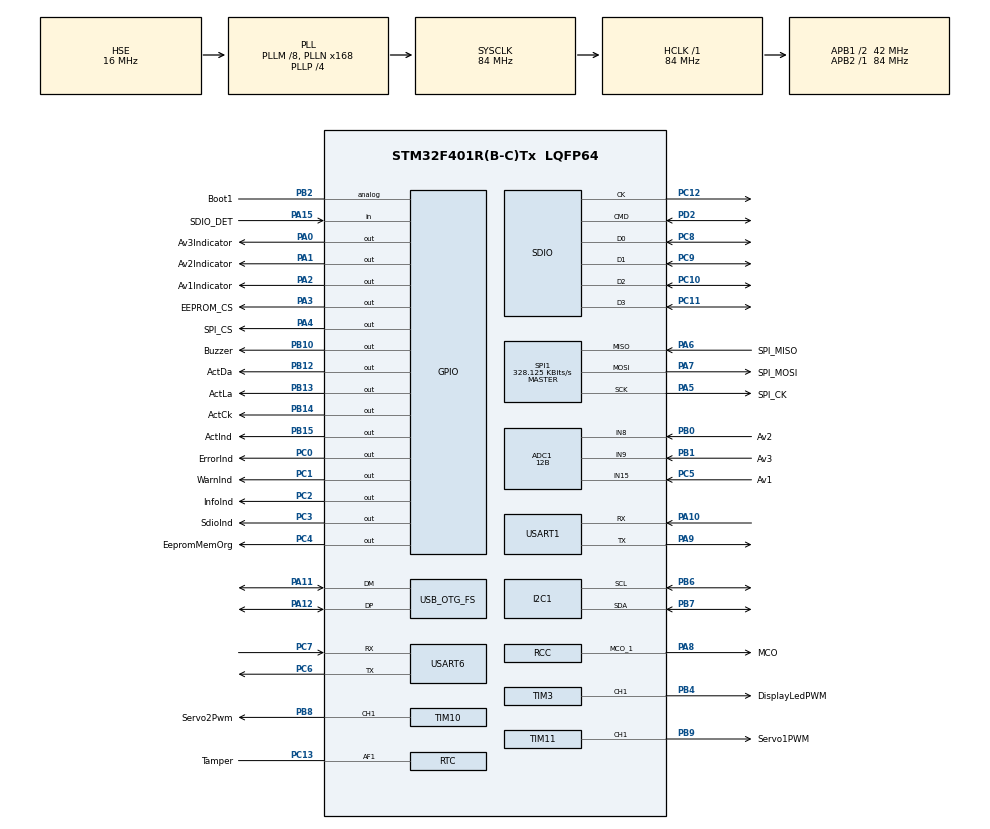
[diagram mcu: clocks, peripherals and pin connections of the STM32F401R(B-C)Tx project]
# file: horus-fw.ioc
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ADC1.Channel-0\#ChannelRegularConversion=ADC_CHANNEL_VREFINT
ADC1.Channel-1\#ChannelRegularConversion=ADC_CHANNEL_TEMPSENSOR
ADC1.Channel-2\#ChannelRegularConversion=ADC_CHANNEL_15
ADC1.Channel-3\#ChannelRegularConversion=ADC_CHANNEL_8
ADC1.Channel-5\#ChannelRegularConversion=ADC_CHANNEL_9
ADC1.ClockPrescaler=ADC_CLOCK_SYNC_PCLK_DIV8
ADC1.ContinuousConvMode=ENABLE
ADC1.DMAContinuousRequests=ENABLE
ADC1.NbrOfConversion=5
ADC1.NbrOfConversionFlag=1
ADC1.Rank-0\#ChannelRegularConversion=1
ADC1.Rank-1\#ChannelRegularConversion=2
ADC1.Rank-2\#ChannelRegularConversion=3
ADC1.Rank-3\#ChannelRegularConversion=4
ADC1.Rank-5\#ChannelRegularConversion=5
ADC1.Resolution=ADC_RESOLUTION_12B
ADC1.SamplingTime-0\#ChannelRegularConversion=ADC_SAMPLETIME_56CYCLES
ADC1.SamplingTime-1\#ChannelRegularConversion=ADC_SAMPLETIME_144CYCLES
ADC1.SamplingTime-2\#ChannelRegularConversion=ADC_SAMPLETIME_56CYCLES
ADC1.SamplingTime-3\#ChannelRegularConversion=ADC_SAMPLETIME_56CYCLES
ADC1.SamplingTime-5\#ChannelRegularConversion=ADC_SAMPLETIME_56CYCLES
ADC1.master=1
Dma.ADC1.0.Direction=DMA_PERIPH_TO_MEMORY
Dma.ADC1.0.FIFOMode=DMA_FIFOMODE_DISABLE
Dma.ADC1.0.Instance=DMA2_Stream4
Dma.ADC1.0.MemDataAlignment=DMA_MDATAALIGN_WORD
Dma.ADC1.0.MemInc=DMA_MINC_ENABLE
Dma.ADC1.0.Mode=DMA_CIRCULAR
Dma.ADC1.0.PeriphDataAlignment=DMA_PDATAALIGN_WORD
Dma.ADC1.0.PeriphInc=DMA_PINC_DISABLE
Dma.ADC1.0.Priority=DMA_PRIORITY_LOW
Dma.Request0=ADC1
Dma.Request1=SDIO
Dma.Request2=USART1_RX
Dma.Request3=USART1_TX
Dma.Request4=USART6_RX
Dma.Request5=USART6_TX
Dma.SDIO.1.Direction=DMA_PERIPH_TO_MEMORY
Dma.SDIO.1.FIFOMode=DMA_FIFOMODE_ENABLE
Dma.SDIO.1.FIFOThreshold=DMA_FIFO_THRESHOLD_FULL
Dma.SDIO.1.Instance=DMA2_Stream3
Dma.SDIO.1.MemBurst=DMA_MBURST_INC4
Dma.SDIO.1.MemDataAlignment=DMA_MDATAALIGN_WORD
Dma.SDIO.1.MemInc=DMA_MINC_ENABLE
Dma.SDIO.1.Mode=DMA_PFCTRL
Dma.SDIO.1.PeriphBurst=DMA_PBURST_INC4
Dma.SDIO.1.PeriphDataAlignment=DMA_PDATAALIGN_WORD
Dma.SDIO.1.PeriphInc=DMA_PINC_DISABLE
Dma.SDIO.1.Priority=DMA_PRIORITY_LOW
Dma.USART1_RX.2.Direction=DMA_PERIPH_TO_MEMORY
Dma.USART1_RX.2.FIFOMode=DMA_FIFOMODE_DISABLE
Dma.USART1_RX.2.Instance=DMA2_Stream2
Dma.USART1_RX.2.MemDataAlignment=DMA_MDATAALIGN_BYTE
Dma.USART1_RX.2.MemInc=DMA_MINC_ENABLE
Dma.USART1_RX.2.Mode=DMA_NORMAL
Dma.USART1_RX.2.PeriphDataAlignment=DMA_PDATAALIGN_BYTE
Dma.USART1_RX.2.PeriphInc=DMA_PINC_DISABLE
Dma.USART1_RX.2.Priority=DMA_PRIORITY_LOW
Dma.USART1_TX.3.Direction=DMA_MEMORY_TO_PERIPH
Dma.USART1_TX.3.FIFOMode=DMA_FIFOMODE_DISABLE
Dma.USART1_TX.3.Instance=DMA2_Stream7
Dma.USART1_TX.3.MemDataAlignment=DMA_MDATAALIGN_BYTE
Dma.USART1_TX.3.MemInc=DMA_MINC_ENABLE
Dma.USART1_TX.3.Mode=DMA_CIRCULAR
Dma.USART1_TX.3.PeriphDataAlignment=DMA_PDATAALIGN_BYTE
Dma.USART1_TX.3.PeriphInc=DMA_PINC_DISABLE
Dma.USART1_TX.3.Priority=DMA_PRIORITY_LOW
Dma.USART6_RX.4.Direction=DMA_PERIPH_TO_MEMORY
Dma.USART6_RX.4.FIFOMode=DMA_FIFOMODE_DISABLE
Dma.USART6_RX.4.Instance=DMA2_Stream1
Dma.USART6_RX.4.MemDataAlignment=DMA_MDATAALIGN_BYTE
Dma.USART6_RX.4.MemInc=DMA_MINC_ENABLE
Dma.USART6_RX.4.Mode=DMA_NORMAL
Dma.USART6_RX.4.PeriphDataAlignment=DMA_PDATAALIGN_BYTE
Dma.USART6_RX.4.PeriphInc=DMA_PINC_DISABLE
Dma.USART6_RX.4.Priority=DMA_PRIORITY_LOW
Dma.USART6_TX.5.Direction=DMA_MEMORY_TO_PERIPH
Dma.USART6_TX.5.FIFOMode=DMA_FIFOMODE_DISABLE
Dma.USART6_TX.5.Instance=DMA2_Stream6
Dma.USART6_TX.5.MemDataAlignment=DMA_MDATAALIGN_BYTE
Dma.USART6_TX.5.MemInc=DMA_MINC_ENABLE
Dma.USART6_TX.5.Mode=DMA_CIRCULAR
Dma.USART6_TX.5.PeriphDataAlignment=DMA_PDATAALIGN_BYTE
Dma.USART6_TX.5.PeriphInc=DMA_PINC_DISABLE
Dma.USART6_TX.5.Priority=DMA_PRIORITY_LOW
FATFS.BSP.number=1
FATFS.USE_DMA_CODE_SD=1
FATFS._FS_EXFAT=1
FATFS._MAX_SS=4096
FATFS._USE_EXPAND=1
FATFS._USE_FIND=1
FATFS._USE_LABEL=1
FATFS._USE_LFN=1
FATFS0.BSP.STBoard=false
FATFS0.BSP.api=Unknown
FATFS0.BSP.instance=PA15
FATFS0.BSP.ip=GPIO
FATFS0.BSP.mode=Input
FATFS0.BSP.name=Detect_SDIO
FATFS0.BSP.solution=PA15
Mcu.Family=STM32F4
Mcu.Name=STM32F401R(B-C)Tx
Mcu.Package=LQFP64
NVIC.DMA2_Stream1_IRQn=true\:0\:0\:false\:false\:true\:false\:true\:true
NVIC.DMA2_Stream2_IRQn=true\:0\:0\:false\:false\:true\:false\:true\:true
NVIC.DMA2_Stream3_IRQn=true\:0\:0\:false\:false\:true\:false\:true\:true
NVIC.DMA2_Stream4_IRQn=true\:0\:0\:false\:false\:true\:false\:true\:true
NVIC.DMA2_Stream6_IRQn=true\:0\:0\:false\:false\:true\:false\:true\:true
NVIC.DMA2_Stream7_IRQn=true\:0\:0\:false\:false\:true\:false\:true\:true
NVIC.FPU_IRQn=true\:0\:0\:false\:false\:true\:true\:false\:true
NVIC.OTG_FS_IRQn=true\:0\:0\:false\:false\:true\:false\:true\:true
NVIC.PriorityGroup=NVIC_PRIORITYGROUP_4
NVIC.RCC_IRQn=true\:0\:0\:false\:false\:true\:true\:false\:true
NVIC.RTC_Alarm_IRQn=true\:0\:0\:false\:false\:true\:true\:true\:true
NVIC.SDIO_IRQn=true\:0\:0\:false\:false\:true\:true\:true\:true
NVIC.SPI1_IRQn=true\:0\:0\:false\:false\:true\:true\:true\:true
NVIC.TAMP_STAMP_IRQn=true\:0\:0\:false\:false\:true\:true\:true\:true
NVIC.TIM1_BRK_TIM9_IRQn=true\:0\:0\:false\:false\:true\:true\:true\:true
NVIC.TIM4_IRQn=true\:0\:0\:false\:false\:true\:true\:true\:true
NVIC.TIM5_IRQn=true\:0\:0\:false\:false\:true\:true\:true\:true
NVIC.USART1_IRQn=true\:0\:0\:false\:false\:true\:true\:true\:true
NVIC.USART6_IRQn=true\:0\:0\:false\:false\:true\:true\:true\:true
PA0-WKUP.GPIO_Label=Av3Indicator
PA0-WKUP.Signal=GPIO_Output
PA1.GPIO_Label=Av2Indicator
PA1.Signal=GPIO_Output
PA10.Mode=Asynchronous
PA10.Signal=USART1_RX
PA11.Mode=Device_Only
PA11.Signal=USB_OTG_FS_DM
PA12.Mode=Device_Only
PA12.Signal=USB_OTG_FS_DP
PA13.GPIO_Label=SWDio
PA13.Mode=Trace_Asynchronous_SW
PA13.Signal=SYS_JTMS-SWDIO
PA14.GPIO_Label=SWCk
PA14.Mode=Trace_Asynchronous_SW
PA14.Signal=SYS_JTCK-SWCLK
PA15.GPIO_Label=SDIO_DET
PA15.Signal=GPIO_Input
PA2.GPIO_Label=Av1Indicator
PA2.Signal=GPIO_Output
PA3.GPIO_Label=EEPROM_CS
PA3.Signal=GPIO_Output
PA4.GPIO_Label=SPI_CS
PA4.Signal=GPIO_Output
PA5.GPIO_Label=SPI_CK
PA5.Mode=Full_Duplex_Master
PA5.Signal=SPI1_SCK
PA6.GPIO_Label=SPI_MISO
PA6.Mode=Full_Duplex_Master
PA6.Signal=SPI1_MISO
PA7.GPIO_Label=SPI_MOSI
PA7.Mode=Full_Duplex_Master
PA7.Signal=SPI1_MOSI
PA8.GPIO_Label=MCO
PA8.Mode=Clock-out-1
PA8.Signal=RCC_MCO_1
PA9.Mode=Asynchronous
PA9.Signal=USART1_TX
PB0.GPIO_Label=Av2
PB0.Signal=ADCx_IN8
PB1.GPIO_Label=Av3
PB1.Signal=ADCx_IN9
PB10.GPIO_Label=Buzzer
PB10.Signal=GPIO_Output
PB12.GPIO_Label=ActDa
PB12.Signal=GPIO_Output
PB13.GPIO_Label=ActLa
PB13.Signal=GPIO_Output
PB14.GPIO_Label=ActCk
PB14.Signal=GPIO_Output
PB15.GPIO_Label=ActInd
PB15.Signal=GPIO_Output
PB2.GPIO_Label=Boot1
PB2.Signal=GPIO_Analog
PB3.GPIO_Label=SWO
PB3.Mode=Trace_Asynchronous_SW
PB3.Signal=SYS_JTDO-SWO
PB4.GPIO_Label=DisplayLedPWM
PB4.Signal=S_TIM3_CH1
PB5.Signal=EVENTOUT
PB6.Mode=I2C
PB6.Signal=I2C1_SCL
PB7.Mode=I2C
PB7.Signal=I2C1_SDA
PB8.GPIO_Label=Servo2Pwm
PB8.Signal=S_TIM10_CH1
PB9.GPIO_Label=Servo1PWM
PB9.Signal=S_TIM11_CH1
PC0.GPIO_Label=ErrorInd
PC0.Signal=GPIO_Output
PC1.GPIO_Label=WarnInd
PC1.Signal=GPIO_Output
PC10.Mode=SD_4_bits_Wide_bus
PC10.Signal=SDIO_D2
PC11.Mode=SD_4_bits_Wide_bus
PC11.Signal=SDIO_D3
PC12.Mode=SD_4_bits_Wide_bus
PC12.Signal=SDIO_CK
PC13-ANTI_TAMP.GPIO_Label=Tamper
PC13-ANTI_TAMP.Mode=Tamper 1 enabled - Input Enabled to AF1
PC13-ANTI_TAMP.Signal=RTC_AF1
PC14-OSC32_IN.GPIO_Label=LSEin
PC14-OSC32_IN.Mode=LSE-External-Oscillator
PC14-OSC32_IN.Signal=RCC_OSC32_IN
PC15-OSC32_OUT.GPIO_Label=LSEout
PC15-OSC32_OUT.Mode=LSE-External-Oscillator
PC15-OSC32_OUT.Signal=RCC_OSC32_OUT
PC2.GPIO_Label=InfoInd
PC2.Signal=GPIO_Output
PC3.GPIO_Label=SdioInd
PC3.Signal=GPIO_Output
PC4.GPIO_Label=EepromMemOrg
PC4.Signal=GPIO_Output
PC5.GPIO_Label=Av1
PC5.Signal=ADCx_IN15
PC6.Mode=Asynchronous
PC6.Signal=USART6_TX
PC7.Mode=Asynchronous
PC7.Signal=USART6_RX
PC8.Mode=SD_4_bits_Wide_bus
PC8.Signal=SDIO_D0
PC9.Mode=SD_4_bits_Wide_bus
PC9.Signal=SDIO_D1
PD2.Mode=SD_4_bits_Wide_bus
PD2.Signal=SDIO_CMD
PH0\ -\ OSC_IN.GPIO_Label=HSEin
PH0\ -\ OSC_IN.Mode=HSE-External-Oscillator
PH0\ -\ OSC_IN.Signal=RCC_OSC_IN
PH1\ -\ OSC_OUT.GPIO_Label=HSEout
PH1\ -\ OSC_OUT.Mode=HSE-External-Oscillator
PH1\ -\ OSC_OUT.Signal=RCC_OSC_OUT
ProjectManager.HeapSize=0x800
ProjectManager.StackSize=0x1000
ProjectManager.TargetToolchain=STM32CubeIDE
RCC.48MHZClocksFreq_Value=48000000
RCC.AHBFreq_Value=84000000
RCC.APB1CLKDivider=RCC_HCLK_DIV2
RCC.APB1Freq_Value=42000000
RCC.APB1TimFreq_Value=84000000
RCC.APB2Freq_Value=84000000
RCC.APB2TimFreq_Value=84000000
RCC.CortexFreq_Value=84000000
RCC.HCLKFreq_Value=84000000
RCC.HSE_VALUE=16000000
RCC.HSI_VALUE=16000000
RCC.PLLM=8
RCC.PLLN=168
RCC.PLLP=RCC_PLLP_DIV4
RCC.PLLQ=7
RCC.RCC_MCO1Source=RCC_MCO1SOURCE_HSE
RCC.SYSCLKFreq_VALUE=84000000
RCC.SYSCLKSource=RCC_SYSCLKSOURCE_PLLCLK
RCC.VCOOutputFreq_Value=336000000
RTC.Alarm=RTC_ALARM_A
RTC.Alarm_B=RTC_ALARM_B
RTC.PinSelection_1=RTC_TAMPERPIN_DEFAULT
SDIO.ClockPowerSave=SDIO_CLOCK_POWER_SAVE_ENABLE
SH.ADCx_IN15.0=ADC1_IN15,IN15
SH.ADCx_IN8.0=ADC1_IN8,IN8
SH.ADCx_IN9.0=ADC1_IN9,IN9
SH.S_TIM10_CH1.0=TIM10_CH1,PWM Generation1 CH1
SH.S_TIM11_CH1.0=TIM11_CH1,PWM Generation1 CH1
SH.S_TIM3_CH1.0=TIM3_CH1,PWM Generation1 CH1
SPI1.BaudRatePrescaler=SPI_BAUDRATEPRESCALER_256
SPI1.CalculateBaudRate=328.125 KBits/s
SPI1.DataSize=SPI_DATASIZE_8BIT
SPI1.Direction=SPI_DIRECTION_2LINES
SPI1.Mode=SPI_MODE_MASTER
SPI1.VirtualType=VM_MASTER
TIM10.Channel=TIM_CHANNEL_1
TIM11.AutoReloadPreload=TIM_AUTORELOAD_PRELOAD_ENABLE
TIM11.Channel=TIM_CHANNEL_1
TIM11.Period=1000
TIM11.Prescaler=84 - 1
TIM3.AutoReloadPreload=TIM_AUTORELOAD_PRELOAD_ENABLE
TIM3.Channel-PWM\ Generation1\ CH1=TIM_CHANNEL_1
TIM3.Period=1000 - 1
TIM3.Prescaler=84 - 1
TIM4.AutoReloadPreload=TIM_AUTORELOAD_PRELOAD_ENABLE
TIM4.Channel-Output\ Compare1\ No\ Output=TIM_CHANNEL_1
TIM4.OCMode_1=TIM_OCMODE_TOGGLE
TIM4.Period=1000 - 1
TIM4.Prescaler=8400 - 1
TIM4.Pulse-Output\ Compare1\ No\ Output=1000-1
TIM5.AutoReloadPreload=TIM_AUTORELOAD_PRELOAD_ENABLE
TIM5.Period=100000 - 1
TIM5.Prescaler=8400 - 1
TIM9.AutoReloadPreload=TIM_AUTORELOAD_PRELOAD_ENABLE
TIM9.Channel-Output\ Compare1\ No\ Output=TIM_CHANNEL_1
TIM9.OCMode_1=TIM_OCMODE_TOGGLE
TIM9.Period=10000 - 1
TIM9.Prescaler=8400 - 1
TIM9.Pulse-Output\ Compare1\ No\ Output=10000 - 1
USART1.VirtualMode=VM_ASYNC
USART6.VirtualMode=VM_ASYNC
USB_DEVICE.CLASS_NAME_FS=CDC
USB_DEVICE.PID_CDC_FS=61858
USB_DEVICE.PRODUCT_STRING_CDC_FS=VexUF Horus Serial
USB_DEVICE.USBD_DEBUG_LEVEL=0
USB_DEVICE.VirtualMode=Cdc
USB_DEVICE.VirtualModeFS=Cdc_FS
USB_OTG_FS.Sof_enable=ENABLE
USB_OTG_FS.VirtualMode=Device_Only
VP_ADC1_TempSens_Input.Mode=IN-TempSens
VP_ADC1_Vref_Input.Mode=IN-Vrefint
VP_FATFS_VS_SDIO.Mode=SDIO
VP_RTC_VS_RTC_Activate.Mode=RTC_Enabled
VP_RTC_VS_RTC_Alarm_A_Intern.Mode=Alarm A
VP_RTC_VS_RTC_Alarm_B_Intern.Mode=Alarm B
VP_RTC_VS_RTC_Calendar.Mode=RTC_Calendar
VP_TIM10_VS_ClockSourceINT.Mode=Enable_Timer
VP_TIM11_VS_ClockSourceINT.Mode=Enable_Timer
VP_TIM3_VS_ClockSourceINT.Mode=Internal
VP_TIM4_VS_ClockSourceINT.Mode=Internal
VP_TIM4_VS_no_output1.Mode=Output Compare1 No Output
VP_TIM5_VS_ClockSourceINT.Mode=Internal
VP_TIM9_VS_ClockSourceINT.Mode=Internal
VP_TIM9_VS_no_output1.Mode=Output Compare1 No Output
VP_USB_DEVICE_VS_USB_DEVICE_CDC_FS.Mode=CDC_FS
board=custom

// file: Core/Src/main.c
/* USER CODE BEGIN Header */
/**
  ******************************************************************************
  * @file           : main.c
  * @brief          : Main VexUF:Horus program body
  ******************************************************************************
  * @attention
  *
  * Text within  USER CODE sections: Copyright (c) 2024 Aly Badawy
  * Text outside USER CODE sections: Copyright (c) 2024 STMicroelectronics.
  * All rights reserved.
  *
  * This software is licensed under terms that can be found in the LICENSE file
  * in the root directory of this software component.
  * If no LICENSE file comes with this software, it is provided AS-IS.
  *
  ******************************************************************************
  */
/* USER CODE END Header */

#include "main.h"
#include "adc.h"
#include "dma.h"
#include "fatfs.h"
#include "i2c.h"
#include "rtc.h"
#include "sdio.h"
#include "spi.h"
#include "tim.h"
#include "usart.h"
#include "usb_device.h"
#include "gpio.h"

/* USER CODE BEGIN Includes */
// TODO: Remove unneeded includes
#include "vexuf_actuators.h"
#include "vexuf_adc_avs.h"
#include "vexuf_eeprom.h"
#include "vexuf_i2c_aht20.h"
#include "vexuf_i2c_checker.h"
#include "vexuf_indicators.h"
#include "vexuf_sd_card.h"
#include "vexuf_config.h"

/* USER CODE END Includes */

/* USER CODE BEGIN PV */
char serialNumber[SERIAL_NUMBER_LENGTH];

bool isConfigured;
uint32_t registrationNumber;
char callsign[CALLSIGN_LENGTH];
SerialConfiguration serialInterface;
SpiType spiType;
LcdConfiguration lcdConfig;
I2CConfiguration i2cConfig;
OutputConfiguration outputConfig = {0};
ActuatorsValues actuatorsDefaults;
AlarmConfiguration alarmConfig[2];
PwmConfiguration pwmDefaultConfig;

TriggerConfiguration triggers[TRIGS_COUNT];
AvSensor avSensors[NUMBER_OF_AVS];
/* USER CODE END PV */

void SystemClock_Config(void);

/* USER CODE BEGIN 0 */

// This is used by printf(). We are redirecting that to ITM for debugging.
int _write(int file, char *ptr, int len) {
	for (int i=0; i < len; i++) {
		ITM_SendChar(*ptr++);
	}
	return len;
}

void HAL_TIM_PeriodElapsedCallback(TIM_HandleTypeDef *htim) {
    if (htim->Instance == TIM4) { // every 100ms (10Hz);
    	Indicators_toggleIndWithStatus(FAST);
    } else if (htim->Instance == TIM9) { // every 1s (1Hz)
    	Indicators_toggleIndWithStatus(SLOW);
    } else if (htim->Instance == TIM5) {

    }
}

/* USER CODE END 0 */

int main(void)
{

  /* MCU Configuration--------------------------------------------------------*/

  /* Reset of all peripherals, Initializes the Flash interface and the Systick. */
  HAL_Init();

  /* Configure the system clock */
  SystemClock_Config();

  /* Initialize all configured peripherals */
  MX_GPIO_Init();
  MX_DMA_Init();
  MX_RTC_Init();
  MX_ADC1_Init();
  MX_I2C1_Init();
  MX_SDIO_SD_Init();
  MX_FATFS_Init();
  MX_SPI1_Init();
  MX_TIM4_Init();
  MX_TIM5_Init();
  MX_TIM9_Init();
  MX_USART1_UART_Init();
  MX_USART6_UART_Init();
  MX_TIM3_Init();
  MX_USB_DEVICE_Init();
  MX_TIM10_Init();
  MX_TIM11_Init();
  /* USER CODE BEGIN 2 */
  CONFIG_SetIsConfigured();
  if (CONFIG_IsConfigured()) {
	  CONFIG_LoadSettingsFromEEPROM();
  } else {
	  CONFIG_HandleNoConfig();
  }

  if (SDCard_MountFS() != FR_OK) {
	  SDCard_HandleError();
  }

  uint32_t SdFreeSize = SDCard_GetFreeSize();
  uint32_t SdTotalSize = SDCard_GetTotalSize();

  char TxBuffer [200];
  sprintf(TxBuffer, "  Total SD Card Size: %lu Bytes\r\n", SdTotalSize);
  printf(TxBuffer);
  sprintf(TxBuffer, "  Free SD Card Space: %lu Bytes\r\n", SdFreeSize);
  printf(TxBuffer);

  // Start TIM4, TIM9, TIM5 in interrupt mode
  HAL_TIM_Base_Start_IT(&htim4);
  HAL_TIM_Base_Start_IT(&htim9);
  HAL_TIM_Base_Start_IT(&htim5);

  HAL_GPIO_WritePin(InfoInd_GPIO_Port, InfoInd_Pin, GPIO_PIN_SET);

  /* USER CODE END 2 */

  /* Infinite loop */
  while (1)
  {

  }
}

void SystemClock_Config(void)
{
  RCC_OscInitTypeDef RCC_OscInitStruct = {0};
  RCC_ClkInitTypeDef RCC_ClkInitStruct = {0};

  /** Configure the main internal regulator output voltage
  */
  __HAL_RCC_PWR_CLK_ENABLE();
  __HAL_PWR_VOLTAGESCALING_CONFIG(PWR_REGULATOR_VOLTAGE_SCALE2);

  /** Initializes the RCC Oscillators according to the specified parameters
  * in the RCC_OscInitTypeDef structure.
  */
  RCC_OscInitStruct.OscillatorType = RCC_OSCILLATORTYPE_HSE|RCC_OSCILLATORTYPE_LSE;
  RCC_OscInitStruct.HSEState = RCC_HSE_ON;
  RCC_OscInitStruct.LSEState = RCC_LSE_ON;
  RCC_OscInitStruct.PLL.PLLState = RCC_PLL_ON;
  RCC_OscInitStruct.PLL.PLLSource = RCC_PLLSOURCE_HSE;
  RCC_OscInitStruct.PLL.PLLM = 8;
  RCC_OscInitStruct.PLL.PLLN = 168;
  RCC_OscInitStruct.PLL.PLLP = RCC_PLLP_DIV4;
  RCC_OscInitStruct.PLL.PLLQ = 7;
  if (HAL_RCC_OscConfig(&RCC_OscInitStruct) != HAL_OK)
  {
    Error_Handler();
  }

  /** Initializes the CPU, AHB and APB buses clocks
  */
  RCC_ClkInitStruct.ClockType = RCC_CLOCKTYPE_HCLK|RCC_CLOCKTYPE_SYSCLK
                              |RCC_CLOCKTYPE_PCLK1|RCC_CLOCKTYPE_PCLK2;
  RCC_ClkInitStruct.SYSCLKSource = RCC_SYSCLKSOURCE_PLLCLK;
  RCC_ClkInitStruct.AHBCLKDivider = RCC_SYSCLK_DIV1;
  RCC_ClkInitStruct.APB1CLKDivider = RCC_HCLK_DIV2;
  RCC_ClkInitStruct.APB2CLKDivider = RCC_HCLK_DIV1;

  if (HAL_RCC_ClockConfig(&RCC_ClkInitStruct, FLASH_LATENCY_2) != HAL_OK)
  {
    Error_Handler();
  }
  HAL_RCC_MCOConfig(RCC_MCO1, RCC_MCO1SOURCE_HSE, RCC_MCODIV_1);

  /** Enables the Clock Security System
  */
  HAL_RCC_EnableCSS();
}

void Error_Handler(void)
{
  __disable_irq();
  while (1)
  {
  }
}
